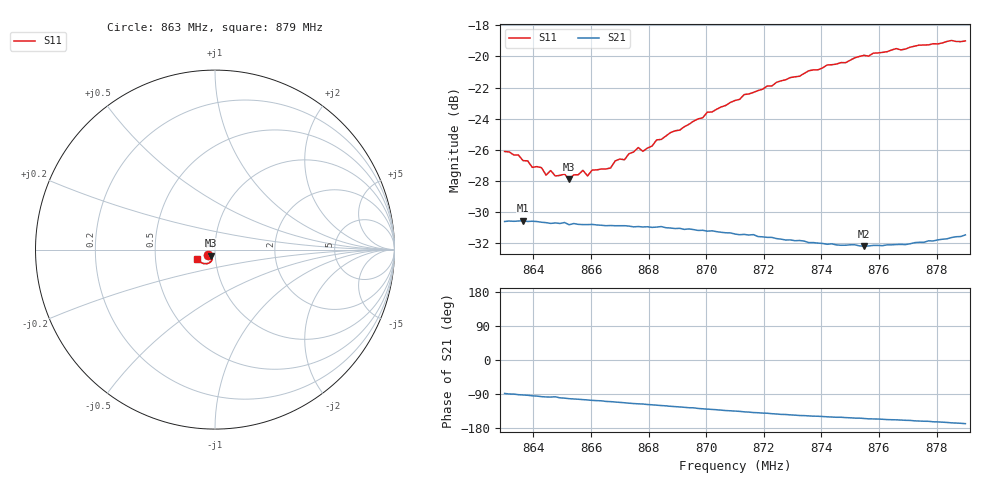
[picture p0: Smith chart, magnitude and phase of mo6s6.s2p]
# HZ S RI R 50
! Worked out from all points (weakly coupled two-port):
!   101 points, 863 MHz to 879 MHz, reference 50 ohm
!   highest |S21| = -30.55 dB at 863.64 MHz (marker M1); lowest = -32.2 dB at 875.48 MHz (marker M2)
!   lowest |S11| = -27.9 dB at 865.24 MHz (marker M3), VSWR 1.08, Z = 47.6 - j3.15 ohm
!   |S11| at or under -10 dB: start of sweep to end of sweep
!   S12 and S22 are empty: the file has one direction only
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8.63e8  -0.0396 -0.0297  0.000882 -0.0295  0 0  0 0
8.6348e8  -0.0374 -0.0305  -0.000802 -0.0296  0 0  0 0
8.6364e8  -0.0356 -0.0296  -0.00118 -0.0297  0 0  0 0
8.6396e8  -0.0324 -0.0298  -0.00231 -0.0295  0 0  0 0
8.6428e8  -0.0299 -0.0322  -0.00345 -0.0292  0 0  0 0
8.6444e8  -0.0285 -0.0303  -0.00381 -0.029  0 0  0 0
8.646e8  -0.0292 -0.0316  -0.00395 -0.0288  0 0  0 0
8.6524e8  -0.0231 -0.033  -0.00602 -0.0282  0 0  0 0
8.6572e8  -0.0224 -0.0368  -0.00724 -0.0279  0 0  0 0
8.6588e8  -0.0212 -0.0355  -0.00769 -0.0278  0 0  0 0
8.6604e8  -0.0219 -0.0372  -0.00822 -0.0277  0 0  0 0
8.6668e8  -0.0183 -0.0398  -0.00974 -0.027  0 0  0 0
8.6684e8  -0.0179 -0.0426  -0.0102 -0.0267  0 0  0 0
8.6716e8  -0.0172 -0.0433  -0.0111 -0.0264  0 0  0 0
8.6764e8  -0.018 -0.0477  -0.0123 -0.0256  0 0  0 0
8.678e8  -0.0157 -0.047  -0.0125 -0.0255  0 0  0 0
8.6844e8  -0.0166 -0.0515  -0.0143 -0.0246  0 0  0 0
8.71e8  -0.0236 -0.0682  -0.019 -0.0191  0 0  0 0
8.7372e8  -0.0445 -0.0788  -0.0215 -0.0133  0 0  0 0
8.7548e8  -0.0639 -0.0779  -0.0222 -0.0107  0 0  0 0
8.7644e8  -0.0748 -0.0735  -0.023 -0.00948  0 0  0 0
8.79e8  -0.098 -0.0545  -0.0262 -0.00556  0 0  0 0
